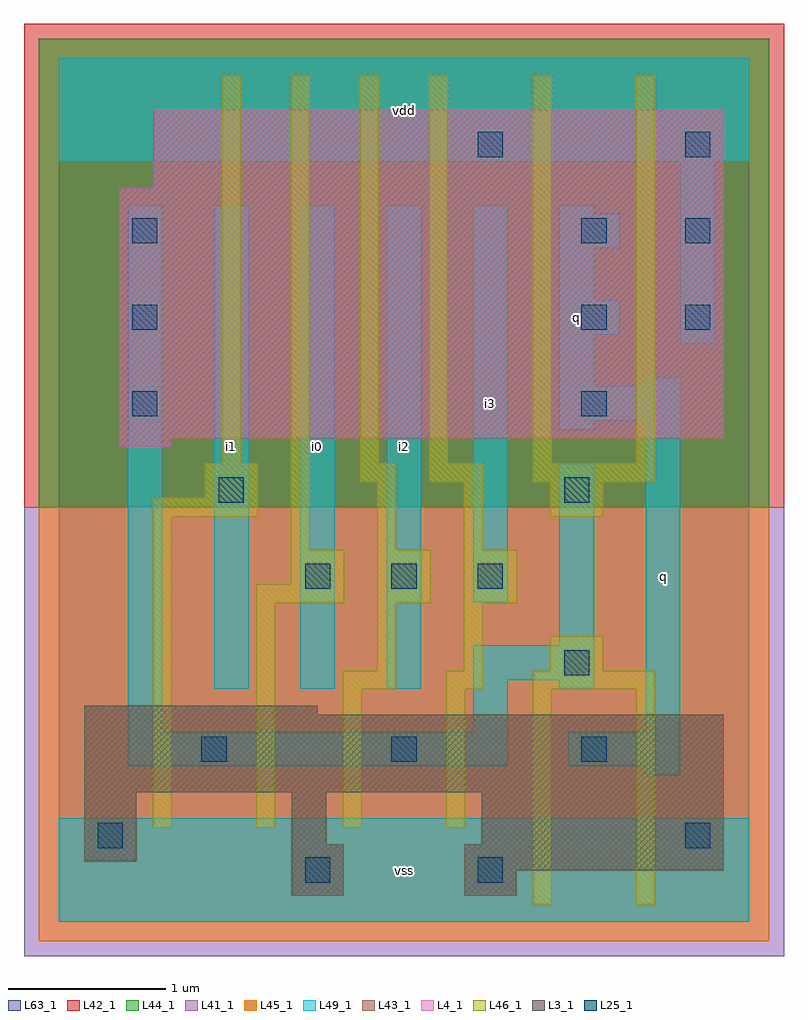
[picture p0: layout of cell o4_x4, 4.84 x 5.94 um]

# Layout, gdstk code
import gdstk
lib = gdstk.Library(unit=1e-6, precision=1e-09)
def R(c, l, rs):  # rectangles x0, y0, x1, y1
    for r in rs: c.add(gdstk.rectangle(r[:2], r[2:], *l))
def A(c, l, x, y, w, h, nx, ny, dx, dy):  # array of equal rectangles
    R(c, l, [(x+i*dx, y+j*dy, x+i*dx+w, y+j*dy+h) for i in range(nx) for j in range(ny)])
L3_1 = (3, 1)
L4_1 = (4, 1)
L25_1 = (25, 1)
L41_1 = (41, 1)
L42_1 = (42, 1)
L43_1 = (43, 1)
L44_1 = (44, 1)
L45_1 = (45, 1)
L46_1 = (46, 1)
L49_1 = (49, 1)
L63_1 = (63, 1)

o4_x4 = lib.new_cell('o4_x4')
R(o4_x4, L3_1, [(1.485,0.165,1.815,0.495), (2.585,0.165,2.915,0.33), (2.585,0.33,4.235,0.495), (0.165,0.385,0.495,0.825), (1.485,0.495,1.705,0.825), (2.695,0.495,4.235,0.825), (0.165,0.825,4.235,1.32), (0.165,1.32,1.65,1.375)])
R(o4_x4, L4_1, [(0.385,3.025,0.715,3.08), (0.385,3.08,4.235,4.675), (0.605,4.675,4.235,5.17)])
A(o4_x4, L25_1, 0.91, 1.02, 0.16, 0.16, 3, 1, 1.21, 0)
A(o4_x4, L25_1, 1.57, 2.12, 0.16, 0.16, 3, 1, 0.55, 0)
A(o4_x4, L25_1, 0.47, 3.22, 0.16, 0.16, 1, 3, 0, 0.55)
A(o4_x4, L25_1, 3.33, 3.22, 0.16, 0.16, 1, 3, 0, 0.55)
A(o4_x4, L25_1, 3.99, 3.77, 0.16, 0.16, 1, 3, 0, 0.55)
R(o4_x4, L25_1, [(1.57,0.25,1.73,0.41), (2.67,0.25,2.83,0.41), (0.25,0.47,0.41,0.63), (3.99,0.47,4.15,0.63), (3.22,1.57,3.38,1.73), (1.02,2.67,1.18,2.83), (3.22,2.67,3.38,2.83), (2.67,4.87,2.83,5.03)])
R(o4_x4, L41_1, [(-0.22,-0.22,4.62,2.64)])
R(o4_x4, L42_1, [(-0.22,2.64,4.62,5.72)])
R(o4_x4, L43_1, [(1.485,0.165,1.815,0.495), (2.585,0.165,2.915,0.33), (2.585,0.33,4.235,0.495), (0.165,0.385,0.495,0.825), (1.485,0.495,1.705,0.825), (2.695,0.495,4.235,0.825), (0.165,0.825,4.235,1.32), (0.165,1.32,1.65,1.375), (0.385,3.025,0.715,3.08), (0.385,3.08,4.235,4.675), (0.605,4.675,4.235,5.17)])
R(o4_x4, L44_1, [(-0.125,2.64,4.525,5.625)])
R(o4_x4, L45_1, [(-0.125,-0.125,4.525,2.64)])
A(o4_x4, L46_1, 2.36, 2.92, 0.12, 2.475, 3, 1, 0.66, 0)
R(o4_x4, L46_1, [(3.02,0.105,3.14,1.48), (3.68,0.105,3.8,1.48), (0.6,0.6,0.72,2.58), (1.26,0.6,1.38,2.03), (1.81,0.6,1.93,1.48), (2.47,0.6,2.59,1.48), (1.81,1.48,2.15,1.6), (2.47,1.48,2.7,1.6), (3.02,1.48,3.8,1.6), (2.03,1.6,2.15,2.03), (2.58,1.6,2.7,2.03), (3.13,1.6,3.47,1.82), (1.26,2.03,1.82,2.15), (2.03,2.03,2.37,2.37), (2.58,2.03,2.92,2.37), (1.48,2.15,1.82,2.37), (1.48,2.37,1.6,5.395), (2.03,2.37,2.15,2.8), (2.58,2.37,2.7,2.8), (0.6,2.58,1.27,2.7), (3.13,2.58,3.47,2.8), (0.93,2.7,1.27,2.92), (1.92,2.8,2.15,2.92), (2.36,2.8,2.7,2.92), (3.02,2.8,3.8,2.92), (1.04,2.92,1.16,5.395), (1.92,2.92,2.04,5.395)])
A(o4_x4, L49_1, 0.99, 1.485, 0.22, 3.08, 3, 1, 0.55, 0)
R(o4_x4, L49_1, [(0,0,4.4,0.66), (3.74,0.935,3.96,0.99), (0.44,0.99,2.86,1.21), (3.245,0.99,3.96,1.21), (0.44,1.21,0.66,4.565), (2.64,1.21,2.86,1.54), (3.74,1.21,3.96,3.19), (3.19,1.485,3.41,1.54), (2.64,1.54,3.41,1.76), (3.19,1.76,3.41,2.915), (2.64,2.035,2.86,4.565), (3.19,3.135,3.41,3.19), (3.19,3.19,3.96,3.41), (3.19,3.41,3.41,3.74), (3.74,3.41,3.96,3.465), (3.96,3.685,4.18,4.84), (3.19,3.74,3.575,3.96), (3.19,3.96,3.41,4.29), (3.19,4.29,3.575,4.51), (3.19,4.51,3.41,4.565), (0,4.84,4.4,5.5)])
R(o4_x4, L63_1, [(0,0,4.4,5.5)])
o4_x4.add(gdstk.Label('i1', (1.1,3.025), layer=49, texttype=1))
o4_x4.add(gdstk.Label('i0', (1.65,3.025), layer=49, texttype=1))
o4_x4.add(gdstk.Label('vss', (2.2,0.33), layer=49, texttype=1))
o4_x4.add(gdstk.Label('i2', (2.2,3.025), layer=49, texttype=1))
o4_x4.add(gdstk.Label('i3', (2.75,3.3), layer=49, texttype=1))
o4_x4.add(gdstk.Label('vdd', (2.2,5.17), layer=49, texttype=1))
o4_x4.add(gdstk.Label('q', (3.85,2.2), layer=49, texttype=1))
o4_x4.add(gdstk.Label('q', (3.3,3.85), layer=49, texttype=1))

lib.write_gds('o4_x4.gds')
